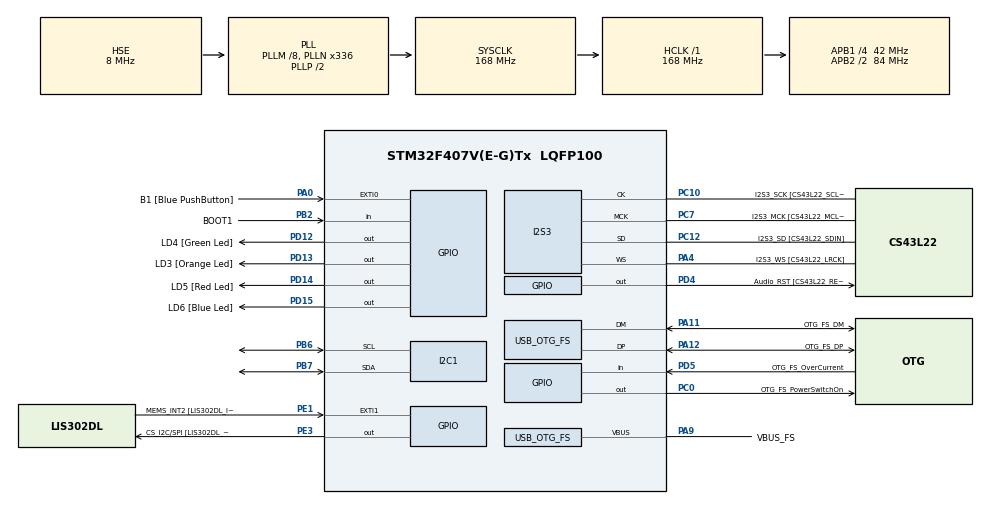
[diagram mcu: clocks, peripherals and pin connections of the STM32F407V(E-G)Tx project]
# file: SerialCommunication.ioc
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I2C1.NoStretchMode=I2C_NOSTRETCH_ENABLE
I2S3.AudioFreq-Half_Duplex_Master=I2S_AUDIOFREQ_96K
I2S3.ErrorAudioFreq=-2.34 %
I2S3.ErrorAudioFreq-Half_Duplex_Master=0.8 %
I2S3.FullDuplexMode=I2S_FULLDUPLEXMODE_DISABLE
I2S3.Instance=SPI$Index
I2S3.RealAudioFreq=93.75 KHz
I2S3.RealAudioFreq-Half_Duplex_Master=96.774 KHz
I2S3.VirtualMode=I2S_MODE_MASTER
Mcu.Family=STM32F4
Mcu.Name=STM32F407V(E-G)Tx
Mcu.Package=LQFP100
NVIC.OTG_FS_IRQn=true\:0\:0\:false\:false\:true\:true\:true\:true
NVIC.PriorityGroup=NVIC_PRIORITYGROUP_0
PA0-WKUP.GPIO_Label=B1 [Blue PushButton]
PA0-WKUP.GPIO_ModeDefaultEXTI=GPIO_MODE_EVT_RISING
PA0-WKUP.GPIO_PuPd=GPIO_NOPULL
PA0-WKUP.Signal=GPXTI0
PA10.GPIO_Label=OTG_FS_ID
PA10.GPIO_Mode=GPIO_MODE_AF_PP
PA10.GPIO_PuPd=GPIO_NOPULL
PA10.GPIO_Speed=GPIO_SPEED_FREQ_LOW
PA10.Signal=USB_OTG_FS_ID
PA11.GPIO_Label=OTG_FS_DM
PA11.GPIO_Mode=GPIO_MODE_AF_PP
PA11.GPIO_PuPd=GPIO_NOPULL
PA11.GPIO_Speed=GPIO_SPEED_FREQ_LOW
PA11.Mode=Device_Only
PA11.Signal=USB_OTG_FS_DM
PA12.GPIO_Label=OTG_FS_DP
PA12.GPIO_Mode=GPIO_MODE_AF_PP
PA12.GPIO_PuPd=GPIO_NOPULL
PA12.GPIO_Speed=GPIO_SPEED_FREQ_LOW
PA12.Mode=Device_Only
PA12.Signal=USB_OTG_FS_DP
PA13.GPIO_Label=SWDIO
PA13.Mode=Serial_Wire
PA13.Signal=SYS_JTMS-SWDIO
PA14.GPIO_Label=SWCLK
PA14.Mode=Serial_Wire
PA14.Signal=SYS_JTCK-SWCLK
PA4.GPIO_Label=I2S3_WS [CS43L22_LRCK]
PA4.GPIO_Mode=GPIO_MODE_AF_PP
PA4.GPIO_PuPd=GPIO_NOPULL
PA4.GPIO_Speed=GPIO_SPEED_FREQ_LOW
PA4.Mode=Half_Duplex_Master
PA4.Signal=I2S3_WS
PA9.GPIO_Label=VBUS_FS
PA9.GPIO_Mode=GPIO_MODE_INPUT
PA9.GPIO_PuPd=GPIO_NOPULL
PA9.Mode=Activate_VBUS
PA9.Signal=USB_OTG_FS_VBUS
PB10.GPIO_Label=CLK_IN [MP45DT02_CLK]
PB10.GPIO_Mode=GPIO_MODE_AF_PP
PB10.GPIO_PuPd=GPIO_NOPULL
PB10.GPIO_Speed=GPIO_SPEED_FREQ_LOW
PB10.Signal=I2S2_CK
PB2.GPIO_Label=BOOT1
PB2.GPIO_Mode=GPIO_MODE_INPUT
PB2.GPIO_PuPd=GPIO_NOPULL
PB2.Signal=GPIO_Input
PB6.Mode=I2C
PB6.Signal=I2C1_SCL
PB7.Mode=I2C
PB7.Signal=I2C1_SDA
PC0.GPIO_Label=OTG_FS_PowerSwitchOn
PC0.GPIO_PuPd=GPIO_NOPULL
PC0.GPIO_Speed=GPIO_SPEED_FREQ_LOW
PC0.PinState=GPIO_PIN_SET
PC0.Signal=GPIO_Output
PC10.GPIO_Label=I2S3_SCK [CS43L22_SCLK]
PC10.GPIO_Mode=GPIO_MODE_AF_PP
PC10.GPIO_PuPd=GPIO_NOPULL
PC10.GPIO_Speed=GPIO_SPEED_FREQ_LOW
PC10.Mode=Half_Duplex_Master
PC10.Signal=I2S3_CK
PC12.GPIO_Label=I2S3_SD [CS43L22_SDIN]
PC12.GPIO_Mode=GPIO_MODE_AF_PP
PC12.GPIO_PuPd=GPIO_NOPULL
PC12.GPIO_Speed=GPIO_SPEED_FREQ_LOW
PC12.Mode=Half_Duplex_Master
PC12.Signal=I2S3_SD
PC14-OSC32_IN.GPIO_Label=PC14-OSC32_IN
PC14-OSC32_IN.Mode=LSE-External-Oscillator
PC14-OSC32_IN.Signal=RCC_OSC32_IN
PC15-OSC32_OUT.GPIO_Label=PC15-OSC32_OUT
PC15-OSC32_OUT.Mode=LSE-External-Oscillator
PC15-OSC32_OUT.Signal=RCC_OSC32_OUT
PC3.GPIO_Label=PDM_OUT [MP45DT02_DOUT]
PC3.GPIO_Mode=GPIO_MODE_AF_PP
PC3.GPIO_PuPd=GPIO_NOPULL
PC3.GPIO_Speed=GPIO_SPEED_FREQ_LOW
PC3.Signal=I2S2_SD
PC7.GPIO_Label=I2S3_MCK [CS43L22_MCLK]
PC7.GPIO_Mode=GPIO_MODE_AF_PP
PC7.GPIO_PuPd=GPIO_NOPULL
PC7.GPIO_Speed=GPIO_SPEED_FREQ_LOW
PC7.Mode=Master_Clock_Activated
PC7.Signal=I2S3_MCK
PD12.GPIO_Label=LD4 [Green Led]
PD12.GPIO_PuPd=GPIO_NOPULL
PD12.GPIO_Speed=GPIO_SPEED_FREQ_LOW
PD12.Signal=GPIO_Output
PD13.GPIO_Label=LD3 [Orange Led]
PD13.GPIO_PuPd=GPIO_NOPULL
PD13.GPIO_Speed=GPIO_SPEED_FREQ_LOW
PD13.Signal=GPIO_Output
PD14.GPIO_Label=LD5 [Red Led]
PD14.GPIO_PuPd=GPIO_NOPULL
PD14.GPIO_Speed=GPIO_SPEED_FREQ_LOW
PD14.Signal=GPIO_Output
PD15.GPIO_Label=LD6 [Blue Led]
PD15.GPIO_PuPd=GPIO_NOPULL
PD15.GPIO_Speed=GPIO_SPEED_FREQ_LOW
PD15.Signal=GPIO_Output
PD4.GPIO_Label=Audio_RST [CS43L22_RESET]
PD4.GPIO_PuPd=GPIO_NOPULL
PD4.GPIO_Speed=GPIO_SPEED_FREQ_LOW
PD4.Signal=GPIO_Output
PD5.GPIO_Label=OTG_FS_OverCurrent
PD5.GPIO_Mode=GPIO_MODE_INPUT
PD5.GPIO_PuPd=GPIO_NOPULL
PD5.Signal=GPIO_Input
PE1.GPIO_Label=MEMS_INT2 [LIS302DL_INT2]
PE1.GPIO_ModeDefaultEXTI=GPIO_MODE_EVT_RISING
PE1.GPIO_PuPd=GPIO_NOPULL
PE1.Signal=GPXTI1
PE3.GPIO_Label=CS_I2C/SPI [LIS302DL_CS_I2C/SPI]
PE3.GPIO_PuPd=GPIO_NOPULL
PE3.GPIO_Speed=GPIO_SPEED_FREQ_LOW
PE3.Signal=GPIO_Output
PH0-OSC_IN.GPIO_Label=PH0-OSC_IN
PH0-OSC_IN.Mode=HSE-External-Oscillator
PH0-OSC_IN.Signal=RCC_OSC_IN
PH1-OSC_OUT.GPIO_Label=PH1-OSC_OUT
PH1-OSC_OUT.Mode=HSE-External-Oscillator
PH1-OSC_OUT.Signal=RCC_OSC_OUT
ProjectManager.HeapSize=0x200
ProjectManager.StackSize=0x400
ProjectManager.TargetToolchain=STM32CubeIDE
RCC.48MHZClocksFreq_Value=48000000
RCC.AHBFreq_Value=168000000
RCC.APB1CLKDivider=RCC_HCLK_DIV4
RCC.APB1Freq_Value=42000000
RCC.APB1TimFreq_Value=84000000
RCC.APB2CLKDivider=RCC_HCLK_DIV2
RCC.APB2Freq_Value=84000000
RCC.APB2TimFreq_Value=168000000
RCC.CortexFreq_Value=168000000
RCC.HCLKFreq_Value=168000000
RCC.HSE_VALUE=8000000
RCC.HSI_VALUE=16000000
RCC.PLLM=8
RCC.PLLN=336
RCC.PLLQ=7
RCC.SYSCLKFreq_VALUE=168000000
RCC.SYSCLKSource=RCC_SYSCLKSOURCE_PLLCLK
RCC.VCOOutputFreq_Value=336000000
USB_DEVICE.CLASS_NAME_FS=CDC
USB_DEVICE.VirtualMode-CDC_FS=Cdc
USB_DEVICE.VirtualModeFS=Cdc_FS
USB_OTG_FS.VirtualMode=Device_Only
VP_USB_DEVICE_VS_USB_DEVICE_CDC_FS.Mode=CDC_FS
board=STM32F407G-DISC1

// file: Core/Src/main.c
/* USER CODE BEGIN Header */
/**
  ******************************************************************************
  * @file           : main.c
  * @brief          : Main program body
  ******************************************************************************
  * @attention
  *
  * Copyright (c) 2023 STMicroelectronics.
  * All rights reserved.
  *
  * This software is licensed under terms that can be found in the LICENSE file
  * in the root directory of this software component.
  * If no LICENSE file comes with this software, it is provided AS-IS.
  *
  ******************************************************************************
  */
/* USER CODE END Header */
#include "main.h"
#include "usb_device.h"

/* USER CODE BEGIN Includes */

#include "stm32f4xx_hal.h"
#include <stdio.h>
#include "usbd_cdc_if.h"

/* USER CODE END Includes */

 I2C_HandleTypeDef hi2c1;

I2S_HandleTypeDef hi2s3;

/* USER CODE BEGIN PV */

#define BUFSIZE 256
char SendBuffer[BUFSIZE];

//L3GD20
uint8_t deviceAddress = 0b1101010 << 1;
uint8_t whoAmIAddress = 0x0F;

int16_t gyro_x, gyro_y, gyro_z;

/* USER CODE END PV */

void SystemClock_Config(void);
static void MX_GPIO_Init(void);
static void MX_I2S3_Init(void);
static void MX_I2C1_Init(void);

/* USER CODE BEGIN 0 */

HAL_StatusTypeDef I2C_ReadRegister(uint8_t regAddress, uint8_t* pData, uint16_t dataSize) {

	HAL_StatusTypeDef readStatus;

    // Send the register address to read from
	readStatus = HAL_I2C_Master_Transmit(&hi2c1, deviceAddress, &regAddress, 1, HAL_MAX_DELAY);
    if (readStatus != HAL_OK) {
        return readStatus;
    }

    // Receive data from the device
    readStatus = HAL_I2C_Master_Receive(&hi2c1, deviceAddress, pData, dataSize, HAL_MAX_DELAY);
    if (readStatus != HAL_OK) {
        return HAL_ERROR;
    }

    return readStatus;
}

void Gyro_Init(void) {

	HAL_StatusTypeDef status;
	//uint8_t data;
	uint8_t buf[12];
	/*
	//HAL_StatusTypeDef readStatus = I2C_ReadRegister(registerAddress, &data, 1);
	buf[0] = whoAmIAddress;
	status = HAL_I2C_Master_Transmit(&hi2c1, deviceAddress, buf, 1, HAL_MAX_DELAY);
	if(status == HAL_OK) {
		status = HAL_I2C_Master_Receive(&hi2c1, deviceAddress, buf, 1, HAL_MAX_DELAY);

	}
	*/
	buf[0] = whoAmIAddress;
	uint8_t final = 0;
	uint8_t i = 0;
	for(i = 0; i < 0x7F; i++) {// 1101011 1101010
		uint8_t deviceAddress = i << 1;
		status = HAL_I2C_Master_Transmit(&hi2c1, deviceAddress, buf, 1, HAL_MAX_DELAY);
		if(status != HAL_ERROR) {
			final = i;
			break;
		}
	}

	if(final == i) {
		i = 0;
	} else {
		i = -1;
	}

}

void Read_Gyro_Data(void) {

}

/* USER CODE END 0 */

int main(void)
{

  /* MCU Configuration--------------------------------------------------------*/

  /* Reset of all peripherals, Initializes the Flash interface and the Systick. */
  HAL_Init();

  /* Configure the system clock */
  SystemClock_Config();

  /* Initialize all configured peripherals */
  MX_GPIO_Init();
  MX_I2S3_Init();
  MX_USB_DEVICE_Init();
  MX_I2C1_Init();
  /* USER CODE BEGIN 2 */

  // Initialize I2C Gyroscope
  Gyro_Init();

  /* USER CODE END 2 */

  /* Infinite loop */
  /* USER CODE BEGIN WHILE */
  while (1)
  {

	Read_Gyro_Data();

	snprintf(SendBuffer, BUFSIZE, "Data x: %d, y: %d, z: %d\r\n", gyro_x, gyro_y, gyro_z);
	CDC_Transmit_FS((uint8_t*) SendBuffer, strlen(SendBuffer));
    /* USER CODE END WHILE */

    /* USER CODE BEGIN 3 */
	HAL_Delay(1000);

  }
  /* USER CODE END 3 */
}

void SystemClock_Config(void)
{
  RCC_OscInitTypeDef RCC_OscInitStruct = {0};
  RCC_ClkInitTypeDef RCC_ClkInitStruct = {0};

  /** Configure the main internal regulator output voltage
  */
  __HAL_RCC_PWR_CLK_ENABLE();
  __HAL_PWR_VOLTAGESCALING_CONFIG(PWR_REGULATOR_VOLTAGE_SCALE1);

  /** Initializes the RCC Oscillators according to the specified parameters
  * in the RCC_OscInitTypeDef structure.
  */
  RCC_OscInitStruct.OscillatorType = RCC_OSCILLATORTYPE_HSE;
  RCC_OscInitStruct.HSEState = RCC_HSE_ON;
  RCC_OscInitStruct.PLL.PLLState = RCC_PLL_ON;
  RCC_OscInitStruct.PLL.PLLSource = RCC_PLLSOURCE_HSE;
  RCC_OscInitStruct.PLL.PLLM = 8;
  RCC_OscInitStruct.PLL.PLLN = 336;
  RCC_OscInitStruct.PLL.PLLP = RCC_PLLP_DIV2;
  RCC_OscInitStruct.PLL.PLLQ = 7;
  if (HAL_RCC_OscConfig(&RCC_OscInitStruct) != HAL_OK)
  {
    Error_Handler();
  }

  /** Initializes the CPU, AHB and APB buses clocks
  */
  RCC_ClkInitStruct.ClockType = RCC_CLOCKTYPE_HCLK|RCC_CLOCKTYPE_SYSCLK
                              |RCC_CLOCKTYPE_PCLK1|RCC_CLOCKTYPE_PCLK2;
  RCC_ClkInitStruct.SYSCLKSource = RCC_SYSCLKSOURCE_PLLCLK;
  RCC_ClkInitStruct.AHBCLKDivider = RCC_SYSCLK_DIV1;
  RCC_ClkInitStruct.APB1CLKDivider = RCC_HCLK_DIV4;
  RCC_ClkInitStruct.APB2CLKDivider = RCC_HCLK_DIV2;

  if (HAL_RCC_ClockConfig(&RCC_ClkInitStruct, FLASH_LATENCY_5) != HAL_OK)
  {
    Error_Handler();
  }
}

static void MX_I2C1_Init(void)
{

  hi2c1.Instance = I2C1;
  hi2c1.Init.ClockSpeed = 100000;
  hi2c1.Init.DutyCycle = I2C_DUTYCYCLE_2;
  hi2c1.Init.OwnAddress1 = 0;
  hi2c1.Init.AddressingMode = I2C_ADDRESSINGMODE_7BIT;
  hi2c1.Init.DualAddressMode = I2C_DUALADDRESS_DISABLE;
  hi2c1.Init.OwnAddress2 = 0;
  hi2c1.Init.GeneralCallMode = I2C_GENERALCALL_DISABLE;
  hi2c1.Init.NoStretchMode = I2C_NOSTRETCH_ENABLE;
  if (HAL_I2C_Init(&hi2c1) != HAL_OK)
  {
    Error_Handler();
  }

}

static void MX_I2S3_Init(void)
{

  hi2s3.Instance = SPI3;
  hi2s3.Init.Mode = I2S_MODE_MASTER_TX;
  hi2s3.Init.Standard = I2S_STANDARD_PHILIPS;
  hi2s3.Init.DataFormat = I2S_DATAFORMAT_16B;
  hi2s3.Init.MCLKOutput = I2S_MCLKOUTPUT_ENABLE;
  hi2s3.Init.AudioFreq = I2S_AUDIOFREQ_96K;
  hi2s3.Init.CPOL = I2S_CPOL_LOW;
  hi2s3.Init.ClockSource = I2S_CLOCK_PLL;
  hi2s3.Init.FullDuplexMode = I2S_FULLDUPLEXMODE_DISABLE;
  if (HAL_I2S_Init(&hi2s3) != HAL_OK)
  {
    Error_Handler();
  }

}

static void MX_GPIO_Init(void)
{
  GPIO_InitTypeDef GPIO_InitStruct = {0};

  /* GPIO Ports Clock Enable */
  __HAL_RCC_GPIOE_CLK_ENABLE();
  __HAL_RCC_GPIOC_CLK_ENABLE();
  __HAL_RCC_GPIOH_CLK_ENABLE();
  __HAL_RCC_GPIOA_CLK_ENABLE();
  __HAL_RCC_GPIOB_CLK_ENABLE();
  __HAL_RCC_GPIOD_CLK_ENABLE();

  /*Configure GPIO pin Output Level */
  HAL_GPIO_WritePin(CS_I2C_SPI_GPIO_Port, CS_I2C_SPI_Pin, GPIO_PIN_RESET);

  /*Configure GPIO pin Output Level */
  HAL_GPIO_WritePin(OTG_FS_PowerSwitchOn_GPIO_Port, OTG_FS_PowerSwitchOn_Pin, GPIO_PIN_SET);

  /*Configure GPIO pin Output Level */
  HAL_GPIO_WritePin(GPIOD, LD4_Pin|LD3_Pin|LD5_Pin|LD6_Pin
                          |Audio_RST_Pin, GPIO_PIN_RESET);

  /*Configure GPIO pin : CS_I2C_SPI_Pin */
  GPIO_InitStruct.Pin = CS_I2C_SPI_Pin;
  GPIO_InitStruct.Mode = GPIO_MODE_OUTPUT_PP;
  GPIO_InitStruct.Pull = GPIO_NOPULL;
  GPIO_InitStruct.Speed = GPIO_SPEED_FREQ_LOW;
  HAL_GPIO_Init(CS_I2C_SPI_GPIO_Port, &GPIO_InitStruct);

  /*Configure GPIO pin : OTG_FS_PowerSwitchOn_Pin */
  GPIO_InitStruct.Pin = OTG_FS_PowerSwitchOn_Pin;
  GPIO_InitStruct.Mode = GPIO_MODE_OUTPUT_PP;
  GPIO_InitStruct.Pull = GPIO_NOPULL;
  GPIO_InitStruct.Speed = GPIO_SPEED_FREQ_LOW;
  HAL_GPIO_Init(OTG_FS_PowerSwitchOn_GPIO_Port, &GPIO_InitStruct);

  /*Configure GPIO pin : PDM_OUT_Pin */
  GPIO_InitStruct.Pin = PDM_OUT_Pin;
  GPIO_InitStruct.Mode = GPIO_MODE_AF_PP;
  GPIO_InitStruct.Pull = GPIO_NOPULL;
  GPIO_InitStruct.Speed = GPIO_SPEED_FREQ_LOW;
  GPIO_InitStruct.Alternate = GPIO_AF5_SPI2;
  HAL_GPIO_Init(PDM_OUT_GPIO_Port, &GPIO_InitStruct);

  /*Configure GPIO pin : B1_Pin */
  GPIO_InitStruct.Pin = B1_Pin;
  GPIO_InitStruct.Mode = GPIO_MODE_EVT_RISING;
  GPIO_InitStruct.Pull = GPIO_NOPULL;
  HAL_GPIO_Init(B1_GPIO_Port, &GPIO_InitStruct);

  /*Configure GPIO pin : BOOT1_Pin */
  GPIO_InitStruct.Pin = BOOT1_Pin;
  GPIO_InitStruct.Mode = GPIO_MODE_INPUT;
  GPIO_InitStruct.Pull = GPIO_NOPULL;
  HAL_GPIO_Init(BOOT1_GPIO_Port, &GPIO_InitStruct);

  /*Configure GPIO pin : CLK_IN_Pin */
  GPIO_InitStruct.Pin = CLK_IN_Pin;
  GPIO_InitStruct.Mode = GPIO_MODE_AF_PP;
  GPIO_InitStruct.Pull = GPIO_NOPULL;
  GPIO_InitStruct.Speed = GPIO_SPEED_FREQ_LOW;
  GPIO_InitStruct.Alternate = GPIO_AF5_SPI2;
  HAL_GPIO_Init(CLK_IN_GPIO_Port, &GPIO_InitStruct);

  /*Configure GPIO pins : LD4_Pin LD3_Pin LD5_Pin LD6_Pin
                           Audio_RST_Pin */
  GPIO_InitStruct.Pin = LD4_Pin|LD3_Pin|LD5_Pin|LD6_Pin
                          |Audio_RST_Pin;
  GPIO_InitStruct.Mode = GPIO_MODE_OUTPUT_PP;
  GPIO_InitStruct.Pull = GPIO_NOPULL;
  GPIO_InitStruct.Speed = GPIO_SPEED_FREQ_LOW;
  HAL_GPIO_Init(GPIOD, &GPIO_InitStruct);

  /*Configure GPIO pin : OTG_FS_OverCurrent_Pin */
  GPIO_InitStruct.Pin = OTG_FS_OverCurrent_Pin;
  GPIO_InitStruct.Mode = GPIO_MODE_INPUT;
  GPIO_InitStruct.Pull = GPIO_NOPULL;
  HAL_GPIO_Init(OTG_FS_OverCurrent_GPIO_Port, &GPIO_InitStruct);

  /*Configure GPIO pin : MEMS_INT2_Pin */
  GPIO_InitStruct.Pin = MEMS_INT2_Pin;
  GPIO_InitStruct.Mode = GPIO_MODE_EVT_RISING;
  GPIO_InitStruct.Pull = GPIO_NOPULL;
  HAL_GPIO_Init(MEMS_INT2_GPIO_Port, &GPIO_InitStruct);

}

void Error_Handler(void)
{
  __disable_irq();
  while (1)
  {
  }
}
